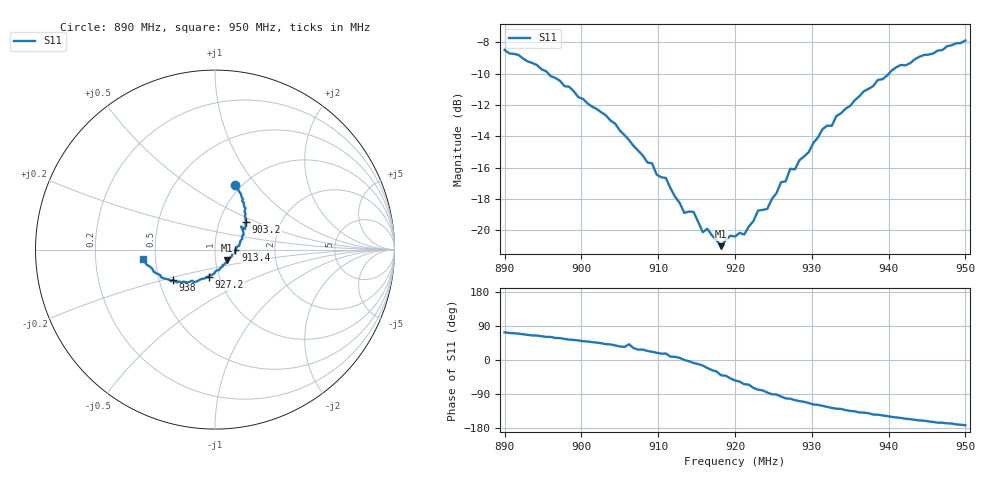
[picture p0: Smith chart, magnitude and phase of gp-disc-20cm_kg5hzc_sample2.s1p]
# HZ S RI R 50
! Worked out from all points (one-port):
!   101 points, 890 MHz to 950 MHz, reference 50 ohm
!   lowest |S11| = -21.0 dB at 918.2 MHz (marker M1), VSWR 1.19, Z = 56.8 - j6.62 ohm
!   |S11| at or under -10 dB: 895.7 MHz to 940 MHz (44.31 MHz wide, 4.83 % of centre)
!   S11 on the Smith chart (normalised r, x): 890 MHz: 0.93, +0.78; 903.2 MHz: 1.34, +0.44; 913.4 MHz: 1.26, +0.00; 927.2 MHz: 0.89, -0.28; 938 MHz: 0.59, -0.22; 950 MHz: 0.43, -0.06
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8.9e8  0.1103 0.3604
8.978e8  0.163 0.2381
9.032e8  0.1738 0.1545
9.05e8  0.1688 0.122
9.062e8  0.1454 0.1285
9.074e8  0.1593 0.0824
9.092e8  0.1518 0.0603
9.098e8  0.1421 0.0492
9.11e8  0.1402 0.0431
9.128e8  0.1215 0.0119
9.134e8  0.1135 3.46e-05
9.146e8  0.1132 -0.0158
9.158e8  0.0952 -0.025
9.164e8  0.094 -0.0364
9.182e8  0.0674 -0.0578
9.2e8  0.0561 -0.0771
9.212e8  0.0426 -0.0868
9.23e8  0.0234 -0.113
9.242e8  0.00871 -0.1165
9.26e8  -0.016 -0.1413
9.266e8  -0.028 -0.1404
9.272e8  -0.0333 -0.1534
9.278e8  -0.0425 -0.1504
9.314e8  -0.1087 -0.18
9.35e8  -0.1747 -0.1782
9.38e8  -0.2336 -0.1699
9.428e8  -0.3124 -0.1385
9.5e8  -0.4003 -0.0551
